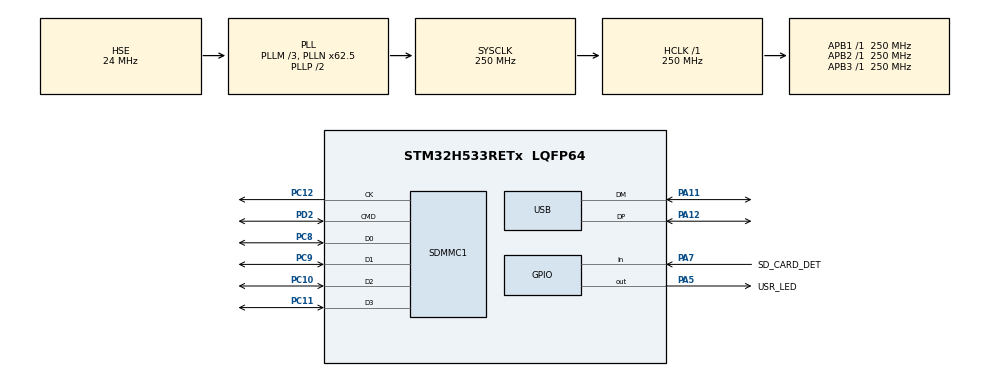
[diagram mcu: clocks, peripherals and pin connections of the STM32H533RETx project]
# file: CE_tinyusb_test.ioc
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BOOTPATH.BootPathName=LEGACY
BOOTPATH.UserSelectedBootPath=LEGACY
CORTEX_M33_NS.userName=CORTEX_M33
Mcu.Family=STM32H5
Mcu.Name=STM32H533RETx
Mcu.Package=LQFP64
NVIC.PriorityGroup=NVIC_PRIORITYGROUP_4
NVIC.USB_DRD_FS_IRQn=true\:0\:0\:false\:false\:true\:true\:true\:true
PA11.Mode=Device
PA11.Signal=USB_DM
PA12.Mode=Device
PA12.Signal=USB_DP
PA13(JTMS/SWDIO).Mode=Serial_Wire
PA13(JTMS/SWDIO).Signal=DEBUG_JTMS-SWDIO
PA14(JTCK/SWCLK).Mode=Serial_Wire
PA14(JTCK/SWCLK).Signal=DEBUG_JTCK-SWCLK
PA5.GPIO_Label=USR_LED
PA5.Signal=GPIO_Output
PA7.GPIO_Label=SD_CARD_DET
PA7.Signal=GPIO_Input
PC10.GPIO_PuPd=GPIO_PULLUP
PC10.GPIO_Speed_Default_HIGH=GPIO_SPEED_FREQ_MEDIUM
PC10.Mode=SD_4_bits_Wide_bus
PC10.Signal=SDMMC1_D2
PC11.GPIO_PuPd=GPIO_PULLUP
PC11.GPIO_Speed_Default_HIGH=GPIO_SPEED_FREQ_MEDIUM
PC11.Mode=SD_4_bits_Wide_bus
PC11.Signal=SDMMC1_D3
PC12.GPIO_PuPd=GPIO_PULLUP
PC12.GPIO_Speed_Default_HIGH=GPIO_SPEED_FREQ_MEDIUM
PC12.Mode=SD_4_bits_Wide_bus
PC12.Signal=SDMMC1_CK
PC14-OSC32_IN(OSC32_IN).Mode=LSE-External-Oscillator
PC14-OSC32_IN(OSC32_IN).Signal=RCC_OSC32_IN
PC15-OSC32_OUT(OSC32_OUT).Mode=LSE-External-Oscillator
PC15-OSC32_OUT(OSC32_OUT).Signal=RCC_OSC32_OUT
PC8.GPIO_PuPd=GPIO_PULLUP
PC8.GPIO_Speed_Default_HIGH=GPIO_SPEED_FREQ_MEDIUM
PC8.Mode=SD_4_bits_Wide_bus
PC8.Signal=SDMMC1_D0
PC9.GPIO_PuPd=GPIO_PULLUP
PC9.GPIO_Speed_Default_HIGH=GPIO_SPEED_FREQ_MEDIUM
PC9.Mode=SD_4_bits_Wide_bus
PC9.Signal=SDMMC1_D1
PD2.GPIO_PuPd=GPIO_PULLUP
PD2.GPIO_Speed_Default_HIGH=GPIO_SPEED_FREQ_MEDIUM
PD2.Mode=SD_4_bits_Wide_bus
PD2.Signal=SDMMC1_CMD
PH0-OSC_IN(PH0).Mode=HSE-External-Oscillator
PH0-OSC_IN(PH0).Signal=RCC_OSC_IN
PH1-OSC_OUT(PH1).Mode=HSE-External-Oscillator
PH1-OSC_OUT(PH1).Signal=RCC_OSC_OUT
ProjectManager.HeapSize=0x200
ProjectManager.StackSize=0x400
ProjectManager.TargetToolchain=CMake
RCC.ADCFreq_Value=250000000
RCC.AHBFreq_Value=250000000
RCC.APB1Freq_Value=250000000
RCC.APB1TimFreq_Value=250000000
RCC.APB2Freq_Value=250000000
RCC.APB2TimFreq_Value=250000000
RCC.APB3Freq_Value=250000000
RCC.CSI_VALUE=4000000
RCC.CortexFreq_Value=250000000
RCC.EPOD_VALUE=24000000
RCC.HCLKFreq_Value=250000000
RCC.HSE_VALUE=24000000
RCC.HSI48_VALUE=48000000
RCC.HSI_VALUE=64000000
RCC.LSIRC_VALUE=32000
RCC.PLL2FRACN=0
RCC.PLL2Source=RCC_PLL2_SOURCE_HSE
RCC.PLL3FRACN=0
RCC.PLL3M=2
RCC.PLL3N=12
RCC.PLL3Q=3
RCC.PLL3Source=RCC_PLL3_SOURCE_HSE
RCC.PLLFRACN=4096
RCC.PLLM=3
RCC.PLLN=62
RCC.PLLSourceVirtual=RCC_PLL1_SOURCE_HSE
RCC.SYSCLKFreq_VALUE=250000000
RCC.SYSCLKSource=RCC_SYSCLKSOURCE_PLLCLK
RCC.USBCLockSelection=RCC_USBCLKSOURCE_PLL3Q
RCC.USBFreq_Value=48000000
RCC.VCOOutputFreq_Value=500000000
SDMMC1.ClockDiv=5
USB.Sof_enable-Device=DISABLE
USB.VirtualMode=Device_Only
VP_BOOTPATH_VS_BOOTPATH.Mode=BP_Activate
VP_CORTEX_M33_NS_VS_Hclk.Mode=Hclk_Mode
VP_ICACHE_VS_ENABLE_ICACHE_MEMORY.Mode=Memoryregions
VP_ICACHE_VS_ICACHE.Mode=DefaultMode
VP_MEMORYMAP_VS_MEMORYMAP.Mode=CurAppReg
VP_PWR_VS_LPOM.Mode=PowerOptimisation
VP_PWR_VS_SECSignals.Mode=Security/Privilege
board=custom

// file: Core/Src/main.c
/* USER CODE BEGIN Header */
/**
  ******************************************************************************
  * @file           : main.c
  * @brief          : Main program body
  ******************************************************************************
  * @attention
  *
  * Copyright (c) 2025 STMicroelectronics.
  * All rights reserved.
  *
  * This software is licensed under terms that can be found in the LICENSE file
  * in the root directory of this software component.
  * If no LICENSE file comes with this software, it is provided AS-IS.
  *
  ******************************************************************************
  */
/* USER CODE END Header */
#include "main.h"

/* USER CODE BEGIN Includes */
#include <stdio.h>
#include "SDUtils.h"
#include "tusb.h"
/* USER CODE END Includes */

SD_HandleTypeDef hsd1;

PCD_HandleTypeDef hpcd_USB_DRD_FS;

/* USER CODE BEGIN PV */

enum BLINK_TIME {
    MOUNTED = 250,
    UNMOUNTED = 1000,
};

static int BLINK_SPEED = UNMOUNTED;

void led_task(void) {
    static uint32_t lastTick = 0;
    uint32_t tick = HAL_GetTick();
    if(tick - lastTick > BLINK_SPEED) {
        lastTick = tick;
        HAL_GPIO_TogglePin(USR_LED_GPIO_Port, USR_LED_Pin);
        if(tud_cdc_connected()) {
            printf("hello\n");
        }
    }
}

void tud_mount_cb(void) {
    BLINK_SPEED = MOUNTED;
}

void tud_umount_cb(void) {
    BLINK_SPEED = UNMOUNTED;
}

static void cdc_task(void) {
    if(tud_cdc_n_available(0)) {
        uint8_t buf[64];
        uint32_t count = tud_cdc_n_read(0, buf, sizeof(buf));
        tud_cdc_n_write(0, buf, count);
        tud_cdc_n_write_flush(0);
    }
}

int prevPinVal = 0;

/* USER CODE END PV */

void SystemClock_Config(void);
static void MX_GPIO_Init(void);
static void MX_ICACHE_Init(void);
static void MX_USB_PCD_Init(void);
static void MX_SDMMC1_SD_Init(void);

int main(void) {

    /* MCU Configuration--------------------------------------------------------*/

    /* Reset of all peripherals, Initializes the Flash interface and the Systick. */
    HAL_Init();

    /* Configure the system clock */
    SystemClock_Config();

    /* USER CODE BEGIN SysInit */
    __HAL_RCC_USB_CLK_ENABLE();
    /* USER CODE END SysInit */

    /* Initialize all configured peripherals */
    MX_GPIO_Init();
    MX_ICACHE_Init();
    MX_USB_PCD_Init();
    MX_SDMMC1_SD_Init();
    initSDCard();
    HAL_SD_GetCardInfo(&hsd1, &cardInfo);
    /* USER CODE BEGIN 2 */

    tud_init(BOARD_TUD_RHPORT);
    /* USER CODE END 2 */

    /* Infinite loop */
    /* USER CODE BEGIN WHILE */
    while(1) {
        // int pinVal = HAL_GPIO_ReadPin(SD_CARD_DET_GPIO_Port, SD_CARD_DET_Pin);
        // if(pinVal && !prevPinVal) {
        //     if(HAL_SD_InitCard(&hsd1) == HAL_OK) {
        //         HAL_GPIO_WritePin(USR_LED_GPIO_Port, USR_LED_Pin, GPIO_PIN_SET);
        //         HAL_SD_GetCardInfo(&hsd1, &cardInfo);
        //         cardDet = 1;
        //     }
        //     else {
        //         HAL_GPIO_WritePin(USR_LED_GPIO_Port, USR_LED_Pin, GPIO_PIN_RESET);
        //         cardDet = 0;
        //     }
        // }
        //
        // prevPinVal = pinVal;

        led_task();
        cardDetTask();
        cdc_task();
        tud_task();
        // if(hsd1.State != HAL_SD_STATE_RESET) printf("Card info: %lu\n", cardInfo.LogBlockSize);
        // else printf("No card inserted!\n");
        // HAL_Delay(50);
        /* USER CODE END WHILE */

    }
}

void SystemClock_Config(void) {
    RCC_OscInitTypeDef RCC_OscInitStruct = {0};
    RCC_ClkInitTypeDef RCC_ClkInitStruct = {0};

    /** Configure the main internal regulator output voltage
    */
    __HAL_PWR_VOLTAGESCALING_CONFIG(PWR_REGULATOR_VOLTAGE_SCALE0);

    while(!__HAL_PWR_GET_FLAG(PWR_FLAG_VOSRDY)) {}

    /** Initializes the RCC Oscillators according to the specified parameters
    * in the RCC_OscInitTypeDef structure.
    */
    RCC_OscInitStruct.OscillatorType = RCC_OSCILLATORTYPE_HSE;
    RCC_OscInitStruct.HSEState = RCC_HSE_ON;
    RCC_OscInitStruct.PLL.PLLState = RCC_PLL_ON;
    RCC_OscInitStruct.PLL.PLLSource = RCC_PLL1_SOURCE_HSE;
    RCC_OscInitStruct.PLL.PLLM = 3;
    RCC_OscInitStruct.PLL.PLLN = 62;
    RCC_OscInitStruct.PLL.PLLP = 2;
    RCC_OscInitStruct.PLL.PLLQ = 2;
    RCC_OscInitStruct.PLL.PLLR = 2;
    RCC_OscInitStruct.PLL.PLLRGE = RCC_PLL1_VCIRANGE_3;
    RCC_OscInitStruct.PLL.PLLVCOSEL = RCC_PLL1_VCORANGE_WIDE;
    RCC_OscInitStruct.PLL.PLLFRACN = 4096;
    if(HAL_RCC_OscConfig(&RCC_OscInitStruct) != HAL_OK) {
        Error_Handler();
    }

    /** Initializes the CPU, AHB and APB buses clocks
    */
    RCC_ClkInitStruct.ClockType = RCC_CLOCKTYPE_HCLK | RCC_CLOCKTYPE_SYSCLK
        | RCC_CLOCKTYPE_PCLK1 | RCC_CLOCKTYPE_PCLK2
        | RCC_CLOCKTYPE_PCLK3;
    RCC_ClkInitStruct.SYSCLKSource = RCC_SYSCLKSOURCE_PLLCLK;
    RCC_ClkInitStruct.AHBCLKDivider = RCC_SYSCLK_DIV1;
    RCC_ClkInitStruct.APB1CLKDivider = RCC_HCLK_DIV1;
    RCC_ClkInitStruct.APB2CLKDivider = RCC_HCLK_DIV1;
    RCC_ClkInitStruct.APB3CLKDivider = RCC_HCLK_DIV1;

    if(HAL_RCC_ClockConfig(&RCC_ClkInitStruct, FLASH_LATENCY_5) != HAL_OK) {
        Error_Handler();
    }

    /** Configure the programming delay
    */
    __HAL_FLASH_SET_PROGRAM_DELAY(FLASH_PROGRAMMING_DELAY_2);
}

static void MX_ICACHE_Init(void) {

    /** Enable instruction cache (default 2-ways set associative cache)
    */
    if(HAL_ICACHE_Enable() != HAL_OK) {
        Error_Handler();
    }

}

static void MX_SDMMC1_SD_Init(void) {

    /* USER CODE BEGIN SDMMC1_Init 0 */
    hsd1.Instance = SDMMC1;
    hsd1.Init.ClockEdge = SDMMC_CLOCK_EDGE_RISING;
    hsd1.Init.ClockPowerSave = SDMMC_CLOCK_POWER_SAVE_DISABLE;
    hsd1.Init.BusWide = SDMMC_BUS_WIDE_4B;
    hsd1.Init.HardwareFlowControl = SDMMC_HARDWARE_FLOW_CONTROL_DISABLE;
    hsd1.Init.ClockDiv = 5;

    /* Check the parameters */
    assert_param(IS_SDMMC_ALL_INSTANCE(hsd1.Instance));
    assert_param(IS_SDMMC_CLOCK_EDGE(hsd1.Init.ClockEdge));
    assert_param(IS_SDMMC_CLOCK_POWER_SAVE(hsd1.Init.ClockPowerSave));
    assert_param(IS_SDMMC_BUS_WIDE(hsd1.Init.BusWide));
    assert_param(IS_SDMMC_HARDWARE_FLOW_CONTROL(hsd1.Init.HardwareFlowControl));
    assert_param(IS_SDMMC_CLKDIV(hsd1.Init.ClockDiv));

    if(hsd1.State == HAL_SD_STATE_RESET) {
        /* Allocate lock resource and initialize it */
        hsd1.Lock = HAL_UNLOCKED;

#if (USE_SD_TRANSCEIVER != 0U)
    /* Force  SDMMC_TRANSCEIVER_PRESENT for Legacy usage */
    if (hsd->Init.TranceiverPresent == SDMMC_TRANSCEIVER_UNKNOWN)
    {
      hsd->Init.TranceiverPresent = SDMMC_TRANSCEIVER_PRESENT;
    }
#endif /*USE_SD_TRANSCEIVER */
#if defined (USE_HAL_SD_REGISTER_CALLBACKS) && (USE_HAL_SD_REGISTER_CALLBACKS == 1U)
    /* Reset Callback pointers in HAL_SD_STATE_RESET only */
    hsd->TxCpltCallback    = HAL_SD_TxCpltCallback;
    hsd->RxCpltCallback    = HAL_SD_RxCpltCallback;
    hsd->ErrorCallback     = HAL_SD_ErrorCallback;
    hsd->AbortCpltCallback = HAL_SD_AbortCallback;
    hsd->Read_DMALnkLstBufCpltCallback  = HAL_SDEx_Read_DMALnkLstBufCpltCallback;
    hsd->Write_DMALnkLstBufCpltCallback = HAL_SDEx_Write_DMALnkLstBufCpltCallback;
#if (USE_SD_TRANSCEIVER != 0U)
    if (hsd->Init.TranceiverPresent == SDMMC_TRANSCEIVER_PRESENT)
    {
      hsd->DriveTransceiver_1_8V_Callback = HAL_SD_DriveTransceiver_1_8V_Callback;
    }
#endif /* USE_SD_TRANSCEIVER */

    if (hsd->MspInitCallback == NULL)
    {
      hsd->MspInitCallback = HAL_SD_MspInit;
    }

    /* Init the low level hardware */
    hsd->MspInitCallback(hsd);
#else
        /* Init the low level hardware : GPIO, CLOCK, CORTEX...etc */
        HAL_SD_MspInit(&hsd1);
#endif /* USE_HAL_SD_REGISTER_CALLBACKS */
    }

    hsd1.State = HAL_SD_STATE_RESET;

    // Return early so HAL wont try and initialize an SD card which may not be present.
    // If this happens it locks us into ErrorHandler. Right now we just want the GPIOs
    // and clocks to be ready to go, nothing else. All the above code is stolen from
    // HAL_SD_Init
    return;
    /* USER CODE END SDMMC1_Init 0 */

    hsd1.Instance = SDMMC1;
    hsd1.Init.ClockEdge = SDMMC_CLOCK_EDGE_RISING;
    hsd1.Init.ClockPowerSave = SDMMC_CLOCK_POWER_SAVE_DISABLE;
    hsd1.Init.BusWide = SDMMC_BUS_WIDE_4B;
    hsd1.Init.HardwareFlowControl = SDMMC_HARDWARE_FLOW_CONTROL_DISABLE;
    hsd1.Init.ClockDiv = 5;
    if(HAL_SD_Init(&hsd1) != HAL_OK) {
        Error_Handler();
    }

}

static void MX_USB_PCD_Init(void) {

    hpcd_USB_DRD_FS.Instance = USB_DRD_FS;
    hpcd_USB_DRD_FS.Init.dev_endpoints = 8;
    hpcd_USB_DRD_FS.Init.speed = USBD_FS_SPEED;
    hpcd_USB_DRD_FS.Init.phy_itface = PCD_PHY_EMBEDDED;
    hpcd_USB_DRD_FS.Init.Sof_enable = DISABLE;
    hpcd_USB_DRD_FS.Init.low_power_enable = DISABLE;
    hpcd_USB_DRD_FS.Init.lpm_enable = DISABLE;
    hpcd_USB_DRD_FS.Init.battery_charging_enable = DISABLE;
    hpcd_USB_DRD_FS.Init.vbus_sensing_enable = DISABLE;
    hpcd_USB_DRD_FS.Init.bulk_doublebuffer_enable = DISABLE;
    hpcd_USB_DRD_FS.Init.iso_singlebuffer_enable = DISABLE;
    if(HAL_PCD_Init(&hpcd_USB_DRD_FS) != HAL_OK) {
        Error_Handler();
    }

}

static void MX_GPIO_Init(void) {
    GPIO_InitTypeDef GPIO_InitStruct = {0};

    /* GPIO Ports Clock Enable */
    __HAL_RCC_GPIOC_CLK_ENABLE();
    __HAL_RCC_GPIOH_CLK_ENABLE();
    __HAL_RCC_GPIOA_CLK_ENABLE();
    __HAL_RCC_GPIOD_CLK_ENABLE();

    /*Configure GPIO pin Output Level */
    HAL_GPIO_WritePin(USR_LED_GPIO_Port, USR_LED_Pin, GPIO_PIN_RESET);

    /*Configure GPIO pin : USR_LED_Pin */
    GPIO_InitStruct.Pin = USR_LED_Pin;
    GPIO_InitStruct.Mode = GPIO_MODE_OUTPUT_PP;
    GPIO_InitStruct.Pull = GPIO_NOPULL;
    GPIO_InitStruct.Speed = GPIO_SPEED_FREQ_LOW;
    HAL_GPIO_Init(USR_LED_GPIO_Port, &GPIO_InitStruct);

    /*Configure GPIO pin : SD_CARD_DET_Pin */
    GPIO_InitStruct.Pin = SD_CARD_DET_Pin;
    GPIO_InitStruct.Mode = GPIO_MODE_INPUT;
    GPIO_InitStruct.Pull = GPIO_NOPULL;
    HAL_GPIO_Init(SD_CARD_DET_GPIO_Port, &GPIO_InitStruct);

}

/* USER CODE BEGIN 4 */
int __io_putchar(int ch) {
    if(!tud_cdc_connected()) return EOF;
    return tud_cdc_n_write_char(BOARD_TUD_RHPORT, ch) == 1 ? ch : EOF;
}

/* USER CODE END 4 */

void Error_Handler(void) {
    __disable_irq();
    while(1) {}
}
